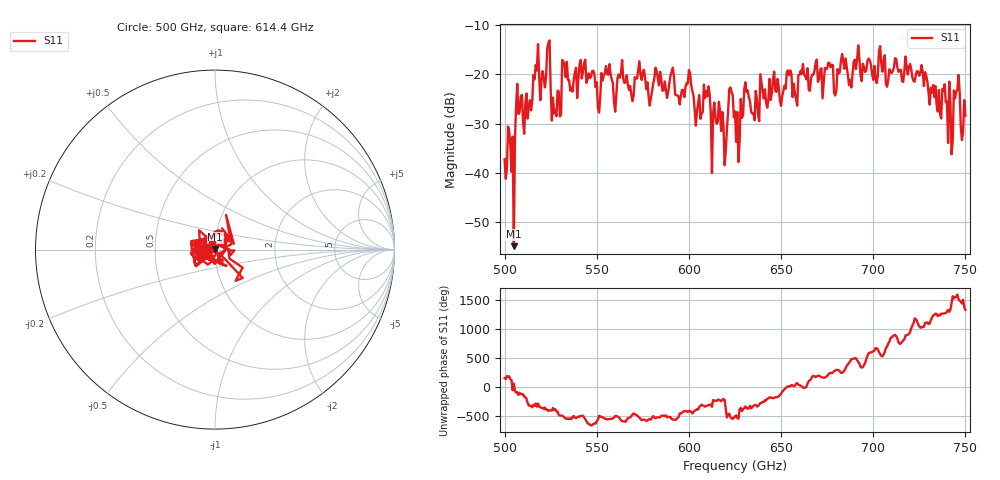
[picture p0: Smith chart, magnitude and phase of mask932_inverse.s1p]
!Created with skrf (http://scikit-rf.org).
# GHz S MA R 50.0
!freq magS11 angS11
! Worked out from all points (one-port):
!   401 points, 500 GHz to 750 GHz, reference 50 ohm
!   lowest |S11| = -54.9 dB at 505 GHz (marker M1), VSWR 1.00, Z = 50.1 + j0.15 ohm
!   |S11| at or under -10 dB: start of sweep to end of sweep
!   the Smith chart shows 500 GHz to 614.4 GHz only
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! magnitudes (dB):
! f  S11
! 500 GHz  -37.2
! 505 GHz  -54.9
! 507.5 GHz  -28.1
! 513.8 GHz  -25.3
! 516.9 GHz  -18.1
! 520.6 GHz  -19.3
! 523.8 GHz  -13.6
! 526.9 GHz  -28.0
! 531.2 GHz  -17.1
! 542.5 GHz  -19.5
! 550.6 GHz  -26.8
! 562.5 GHz  -20.7
! 590.6 GHz  -19.4
! 593.8 GHz  -24.3
! 609.4 GHz  -23.4
! 618.8 GHz  -30.5
! 622.5 GHz  -22.7
! 625 GHz  -27.6
! 656.2 GHz  -24.6
! 680 GHz  -23.2
! 683.8 GHz  -17.3
! 687.5 GHz  -21.1
! 691.2 GHz  -16.9
! 718.8 GHz  -20.0
! 738.8 GHz  -22.0
! 741.9 GHz  -25.9
! 745 GHz  -23.6
! 750 GHz  -28.4
